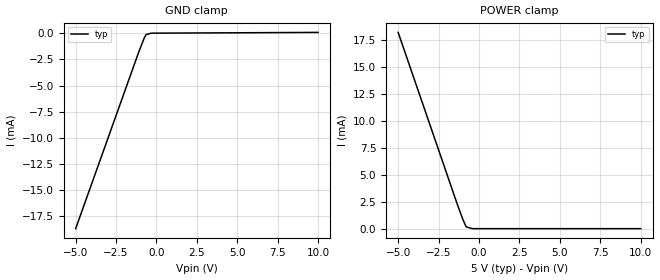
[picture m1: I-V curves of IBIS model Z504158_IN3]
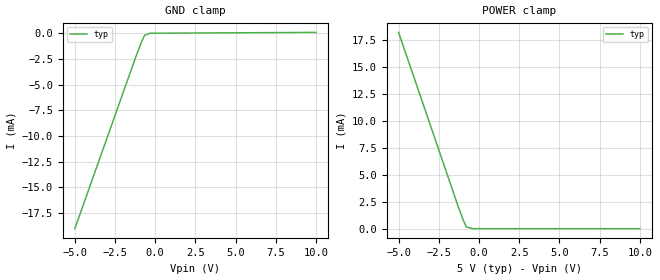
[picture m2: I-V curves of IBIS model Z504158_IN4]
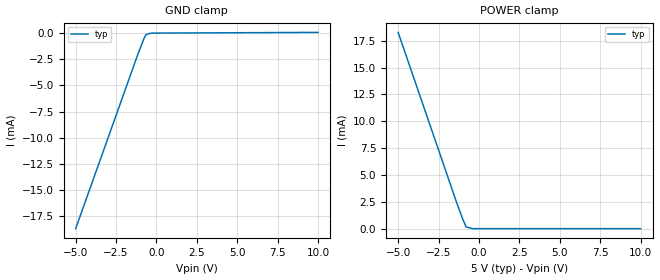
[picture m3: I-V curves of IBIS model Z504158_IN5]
| YOU ARE ONLY AUTHORIZED TO USE THIS SOFTWARE
| ACCORDING TO LICENSOR'S LICENSE RESTRICTIONS.
[IBIS Ver] 3.1
[File Name] mc74hc154dw.ibs
[File Rev] 2.0
[Source] Measured and created by ICX Technology
[Date] Friday 7/14/00 9:08:08 AM
[Copyright]
| (C) COPYRIGHT 1993-2000
| MENTOR GRAPHICS CORPORATION
| ICX STANDARD LIBRARY, ICX PROJECT MODELING,
| ICX CUSTOM MODELING, ICX VENDOR MODEL
| ALL RIGHTS RESERVED.
| THE FOLLOWING ARE TRADEMARKS OR SERVICE MARKS OF
| MENTOR GRAPHICS CORPORATION:ICX (R), ICX STANDARD
| LIBRARY(R), ICX PROJECT MODELING(R), ICX CUSTOM
| MODELING(R), qualityIBIS(TM), MODELVIEWER(TM),
| AND MODELEDITOR(TM)
| ALL COPIES OF SOFTWARE, INCLUDING BUT NOT LIMITED TO
| ANY MODIFICATIONS, ENHANCEMENTS OR DERIVATIVE WORKS,
| MUST CONTAIN ALL MENTOR GRAPHICS CORPORATION'S
| NOTICES AND LEGENDS, INCLUDING THOSE EMBEDDED IN
| SOFTWARE AND THOSE AFFIXED TO SOFTWARE MEDIUM
| AND CONTAINER, AS RECEIVED FROM MENTOR GRAPHICS
| CORPORATION.
|  ZAP Model Builder 2.7
[Component] MC74HC154DW
[Manufacturer] OnSemiconductor
[Package]
| variable   typ   min   max
R_pkg  .18ohms NA NA
L_pkg  4.67nH NA NA
C_pkg  .637pF NA NA
[Pin] signal_name  model_name  R_pin  L_pin C_pin
1 _Y0 Z504158_OUT1 .19 5.862n .712p
2 _Y1 Z504158_OUT1 .186 5.372n .682p
3 _Y2 Z504158_OUT1 .182 4.892n .652p
4 _Y3 Z504158_OUT1 .178 4.422n .622p
5 _Y4 Z504158_OUT1 .174 3.962n .592p
6 _Y5 Z504158_OUT1 .17 3.512n .562p
7 _Y6 Z504158_OUT1 .17 3.512n .562p
8 _Y7 Z504158_OUT1 .174 3.962n .592p
9 _Y8 Z504158_OUT2 .178 4.422n .622p
10 _Y9 Z504158_OUT2 .182 4.892n .652p
11 _Y10 Z504158_OUT2 .186 5.372n .682p
12 GND GND .19 5.862n .712p
13 _Y11 Z504158_OUT2 .19 5.862n .712p
14 _Y12 Z504158_OUT2 .186 5.372n .682p
15 _Y13 Z504158_OUT2 .182 4.892n .652p
16 _Y14 Z504158_OUT2 .178 4.422n .622p
17 _Y15 Z504158_OUT2 .174 3.962n .592p
18 _G1 Z504158_IN3 .17 3.512n .562p
19 _G2 Z504158_IN4 .17 3.512n .562p
20 D Z504158_IN5 .174 3.962n .592p
21 C Z504158_IN5 .178 4.422n .622p
22 B Z504158_IN5 .182 4.892n .652p
23 A Z504158_IN5 .186 5.372n .682p
24 VCC POWER .19 5.862n .712p
| Models and submodels in the file (5): Z504158_IN3 (Input), Z504158_IN4 (Input), Z504158_IN5 (Input), Z504158_OUT1 (Output), Z504158_OUT2 (Output)
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| (C) COPYRIGHT 1993-2000
| MENTOR GRAPHICS CORPORATION
| ICX STANDARD LIBRARY, ICX PROJECT MODELING,
| ICX CUSTOM MODELING, ICX VENDOR MODEL
| ALL RIGHTS RESERVED.
| THE FOLLOWING ARE TRADEMARKS OR SERVICE MARKS OF
| MENTOR GRAPHICS CORPORATION:ICX (R), ICX STANDARD
| LIBRARY(R), ICX PROJECT MODELING(R), ICX CUSTOM
| MODELING(R), qualityIBIS(TM), MODELVIEWER(TM),
| AND MODELEDITOR(TM)
| ALL COPIES OF SOFTWARE, INCLUDING BUT NOT LIMITED TO
| ANY MODIFICATIONS, ENHANCEMENTS OR DERIVATIVE WORKS,
| MUST CONTAIN ALL MENTOR GRAPHICS CORPORATION'S
| NOTICES AND LEGENDS, INCLUDING THOSE EMBEDDED IN
| SOFTWARE AND THOSE AFFIXED TO SOFTWARE MEDIUM
| AND CONTAINER, AS RECEIVED FROM MENTOR GRAPHICS
| CORPORATION.
| Model Application Version 1.89 2/18/99.
[Model] Z504158_IN3
Model_type Input
Vinl = 1.500V
Vinh = 3.500V
C_comp 4.000pF NA NA
| variable typ   min   max
[Voltage Range] 5.000V NA NA
[GND Clamp Reference] 0.000V NA NA
[POWER Clamp Reference] 5.000V NA NA
[GND Clamp]
-5V       -18.67mA   NA         NA
-1.13V    -1.948mA   NA         NA
-766.4mV  -501.2uA   NA         NA
-645mV    -131.9uA   NA         NA
-322.5mV  -605.3nA   NA         NA
10V       74.25uA    NA         NA
[POWER Clamp]
-5V       18.19mA    NA         NA
-1.328V   2.207mA    NA         NA
-1.003V   886uA      NA         NA
-791mV    162.4uA    NA         NA
-395.5mV  0A         NA         NA
10V       0A         NA         NA
| (C) COPYRIGHT 1993-2000
| MENTOR GRAPHICS CORPORATION
| ICX STANDARD LIBRARY, ICX PROJECT MODELING,
| ICX CUSTOM MODELING, ICX VENDOR MODEL
| ALL RIGHTS RESERVED.
| THE FOLLOWING ARE TRADEMARKS OR SERVICE MARKS OF
| MENTOR GRAPHICS CORPORATION:ICX (R), ICX STANDARD
| LIBRARY(R), ICX PROJECT MODELING(R), ICX CUSTOM
| MODELING(R), qualityIBIS(TM), MODELVIEWER(TM),
| AND MODELEDITOR(TM)
| ALL COPIES OF SOFTWARE, INCLUDING BUT NOT LIMITED TO
| ANY MODIFICATIONS, ENHANCEMENTS OR DERIVATIVE WORKS,
| MUST CONTAIN ALL MENTOR GRAPHICS CORPORATION'S
| NOTICES AND LEGENDS, INCLUDING THOSE EMBEDDED IN
| SOFTWARE AND THOSE AFFIXED TO SOFTWARE MEDIUM
| AND CONTAINER, AS RECEIVED FROM MENTOR GRAPHICS
| CORPORATION.
| Model Application Version 1.89 2/18/99.
[Model] Z504158_IN4
Model_type Input
Vinl = 1.500V
Vinh = 3.500V
C_comp 4.000pF NA NA
| variable typ   min   max
[Voltage Range] 5.000V NA NA
[GND Clamp Reference] 0.000V NA NA
[POWER Clamp Reference] 5.000V NA NA
[GND Clamp]
-5V       -19.03mA   NA         NA
-1.206V   -2.298mA   NA         NA
-859.3mV  -877uA     NA         NA
-664.2mV  -211.2uA   NA         NA
-332.1mV  -5.108uA   NA         NA
10V       77.23uA    NA         NA
[POWER Clamp]
-5V       18.22mA    NA         NA
-1.328V   2.209mA    NA         NA
-1.003V   884.7uA    NA         NA
-791mV    162.5uA    NA         NA
-395.5mV  0A         NA         NA
10V       0A         NA         NA
| (C) COPYRIGHT 1993-2000
| MENTOR GRAPHICS CORPORATION
| ICX STANDARD LIBRARY, ICX PROJECT MODELING,
| ICX CUSTOM MODELING, ICX VENDOR MODEL
| ALL RIGHTS RESERVED.
| THE FOLLOWING ARE TRADEMARKS OR SERVICE MARKS OF
| MENTOR GRAPHICS CORPORATION:ICX (R), ICX STANDARD
| LIBRARY(R), ICX PROJECT MODELING(R), ICX CUSTOM
| MODELING(R), qualityIBIS(TM), MODELVIEWER(TM),
| AND MODELEDITOR(TM)
| ALL COPIES OF SOFTWARE, INCLUDING BUT NOT LIMITED TO
| ANY MODIFICATIONS, ENHANCEMENTS OR DERIVATIVE WORKS,
| MUST CONTAIN ALL MENTOR GRAPHICS CORPORATION'S
| NOTICES AND LEGENDS, INCLUDING THOSE EMBEDDED IN
| SOFTWARE AND THOSE AFFIXED TO SOFTWARE MEDIUM
| AND CONTAINER, AS RECEIVED FROM MENTOR GRAPHICS
| CORPORATION.
| Model Application Version 1.89 2/18/99.
[Model] Z504158_IN5
Model_type Input
Vinl = 1.500V
Vinh = 3.500V
C_comp 4.000pF NA NA
| variable typ   min   max
[Voltage Range] 5.000V NA NA
[GND Clamp Reference] 0.000V NA NA
[POWER Clamp Reference] 5.000V NA NA
[GND Clamp]
-5V       -18.7mA    NA         NA
-1.131V   -1.944mA   NA         NA
-766.2mV  -497.7uA   NA         NA
-645.4mV  -131.1uA   NA         NA
-322.7mV  2.644uA    NA         NA
10V       71.36uA    NA         NA
[POWER Clamp]
-5V       18.27mA    NA         NA
-1.426V   2.624mA    NA         NA
-1.003V   882.8uA    NA         NA
-791mV    161.8uA    NA         NA
-395.5mV  0A         NA         NA
10V       0A         NA         NA
